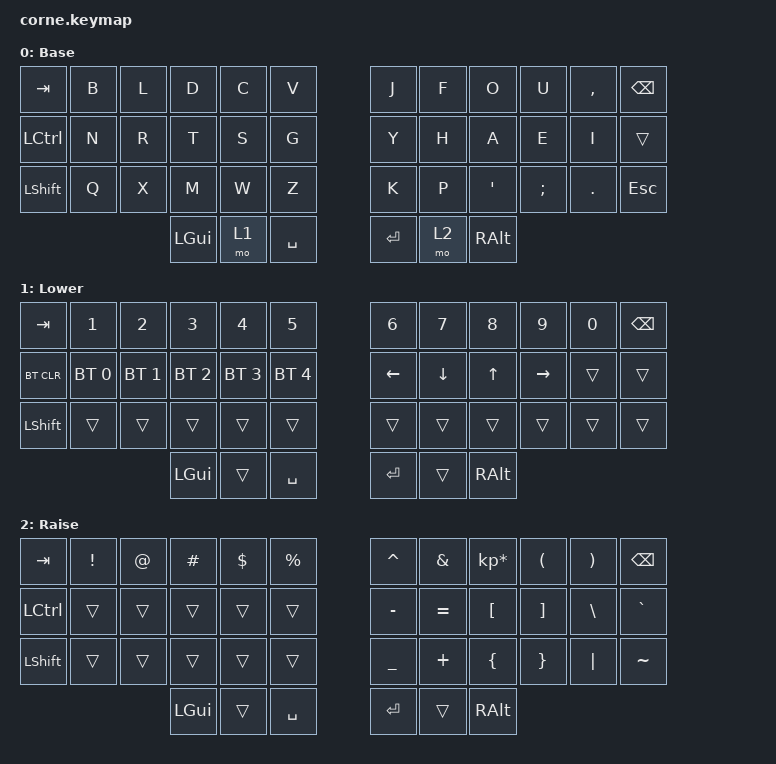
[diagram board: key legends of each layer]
/*
 * Copyright (c) 2020 The ZMK Contributors
 *
 * SPDX-License-Identifier: MIT
 */

#include <behaviors.dtsi>
#include <dt-bindings/zmk/keys.h>
#include <dt-bindings/zmk/bt.h>

/ {
        keymap {
                compatible = "zmk,keymap";

                default_layer {
// -----------------------------------------------------------------------------------------
// |  TAB |  B  |  L  |  D  |  C  |  V  |   |  J  |  F   |  O  |  U  |  ,  | BKSP |
// | CTRL |  N  |  R  |  T  |  S  |  G  |   |  Y  |  H   |  A  |  E  |  I  |     |
// | SHFT |  Q  |  X  |  M  |  W  |  Z  |   |  K  |  P   |  '  |  ;  |  .  | ESC  |
//                    | GUI | LWR | SPC |   | ENT | RSE  | ALT |
                        display-name = "Base";
                        bindings = <
   &kp TAB   &kp B &kp L &kp D &kp C &kp V   &kp J   &kp F  &kp O     &kp U      &kp COMMA  &kp BSPC
   &kp LCTRL &kp N &kp R &kp T &kp S &kp G   &kp Y   &kp H  &kp A     &kp E      &kp I      &trans
   &kp LSHFT &kp Q &kp X &kp M &kp W &kp Z   &kp K   &kp P  &kp SQT   &kp SEMI   &kp DOT    &kp ESC
                  &kp LGUI &mo 1 &kp SPACE   &kp RET &mo 2 &kp RALT
                        >;
                };
                lower_layer {
// -----------------------------------------------------------------------------------------
// |  TAB |  1  |  2  |  3  |  4  |  5  |   |  6  |  7  |  8  |  9  |  0  | BKSP |
// | BTCLR| BT1 | BT2 | BT3 | BT4 | BT5 |   | LFT | DWN |  UP | RGT |     |      |
// | SHFT |     |     |     |     |     |   |     |     |     |     |     |      |
//                    | GUI |     | SPC |   | ENT |     | ALT |
                        display-name = "Lower";
                        bindings = <
   &kp TAB    &kp N1       &kp N2       &kp N3       &kp N4       &kp N5         &kp N6   &kp N7   &kp N8 &kp N9    &kp N0 &kp BSPC
   &bt BT_CLR &bt BT_SEL 0 &bt BT_SEL 1 &bt BT_SEL 2 &bt BT_SEL 3 &bt BT_SEL 4   &kp LEFT &kp DOWN &kp UP &kp RIGHT &trans &trans
   &kp LSHFT  &trans       &trans       &trans       &trans       &trans         &trans   &trans   &trans &trans    &trans &trans
                          	        &kp LGUI     &trans       &kp SPACE      &kp RET  &trans   &kp RALT
                        >;
                };

                raise_layer {
// -----------------------------------------------------------------------------------------
// |  TAB |  !  |  @  |  #  |  $  |  %  |   |  ^  |  &  |  *  |  (  |  )  | BKSP |
// | CTRL |     |     |     |     |     |   |  -  |  =  |  [  |  ]  |  \  |  `   |
// | SHFT |     |     |     |     |     |   |  _  |  +  |  {  |  }  | "|" |  ~   |
//                    | GUI |     | SPC |   | ENT |     | ALT |
                        display-name = "Raise";
                        bindings = <
   &kp  TAB  &kp EXCL &kp AT &kp HASH &kp DLLR &kp PRCNT   &kp CARET &kp AMPS  &kp KP_MULTIPLY &kp LPAR &kp RPAR &kp BSPC
   &kp LCTRL &trans   &trans &trans   &trans   &trans      &kp MINUS &kp EQUAL &kp LBKT        &kp RBKT &kp BSLH &kp GRAVE
   &kp LSHFT &trans   &trans &trans   &trans   &trans      &kp UNDER &kp PLUS  &kp LBRC        &kp RBRC &kp PIPE &kp TILDE
                    	     &kp LGUI &trans   &kp SPACE   &kp RET   &trans    &kp RALT
                        >;
                };

                extra_1 {
                        status = "reserved";
                };

                extra_2 {
                        status = "reserved";
                };

                extra_3 {
                        status = "reserved";
                };
        };
};
